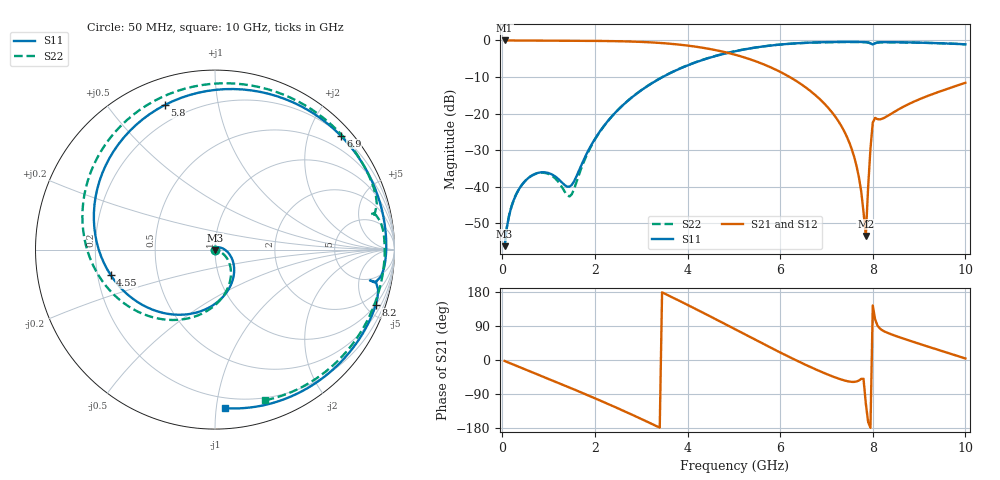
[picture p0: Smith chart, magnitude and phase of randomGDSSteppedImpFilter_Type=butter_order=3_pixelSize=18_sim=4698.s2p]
! freq	dB(S11)	phase(S11)	dB(S12)	phase(S12)
!  dB(S21)	phase(S21)	dB(S22)	phase(S22)
!S-par simulation data
#  GHz  S  DB  R 50
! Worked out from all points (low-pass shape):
!   200 points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, 50 MHz to 10 GHz, reference 50 ohm
!   highest |S21| = -0.01 dB at 50 MHz (marker M1); lowest = -53.4 dB at 7.85 GHz (marker M2)
!   |S21| within 3 dB of the highest: start of sweep to 4.74 GHz
!   lowest |S11| = -56.2 dB at 50 MHz (marker M3), VSWR 1.00, Z = 50 - j0.153 ohm
!   |S11| at or under -10 dB: start of sweep to 3.462 GHz
!   |S22| runs from -56.2 to -0.4 dB; largest |S21 - S12| = 0
!   S11 on the Smith chart (normalised r, x): 50 MHz: 1.00, -0.00; 4.55 GHz: 0.25, -0.11; 5.8 GHz: 0.12, +0.70; 6.9 GHz: 0.22, +2.58; 8.2 GHz: 0.99, -5.86; 10 GHz: 0.13, -1.06
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0.05  -56.21 -81.2  -0.01 -2.5  -0.01 -2.5  -56.22 -79.2
0.2  -45.35 -98.8  -0.02 -10.0  -0.02 -10.0  -45.29 -94.5
0.5  -38.32 -121.3  -0.03 -24.9  -0.03 -24.9  -38.31 -109.5
1  -36.25 -161.0  -0.06 -49.9  -0.06 -49.9  -36.51 -125.4
1.45  -39.98 112.4  -0.08 -72.6  -0.08 -72.6  -42.65 -80.6
1.75  -32.87 35.7  -0.10 -88.0  -0.10 -88.0  -33.49 -25.4
2.5  -18.95 -30.6  -0.21 -127.7  -0.21 -127.7  -18.95 -44.2
3.4  -10.43 -89.6  -0.68 -178.6  -0.68 -178.6  -10.39 -88.5
4  -6.83 -129.2  -1.40 145.5  -1.40 145.5  -6.78 -121.1
4.55  -4.46 -166.4  -2.50 111.3  -2.50 111.3  -4.41 -152.5
5.05  -2.89 159.5  -3.98 79.7  -3.98 79.7  -2.86 178.2
5.8  -1.38 109.1  -7.37 32.3  -7.37 32.3  -1.38 133.3
6.7  -0.57 53.5  -14.29 -21.1  -14.29 -21.1  -0.59 80.5
6.9  -0.49 42.2  -16.57 -31.8  -16.57 -31.8  -0.52 69.2
7.55  -0.39 8.4  -29.85 -57.7  -29.85 -57.7  -0.42 34.3
7.75  -0.42 -1.4  -41.22 -50.0  -41.22 -50.0  -0.44 23.9
7.85  -0.47 -6.4  -53.44 -115.0  -53.44 -115.0  -0.49 18.5
7.95  -0.81 -11.7  -29.58 -178.9  -29.58 -178.9  -0.77 13.0
8  -1.11 -11.3  -22.42 143.9  -22.42 143.9  -1.03 12.8
8.2  -0.47 -18.9  -21.42 78.8  -21.42 78.8  -0.49 4.2
8.35  -0.47 -25.5  -20.40 70.0  -20.40 70.0  -0.49 -3.0
10  -1.06 -86.5  -11.57 4.0  -11.57 4.0  -1.06 -71.6
